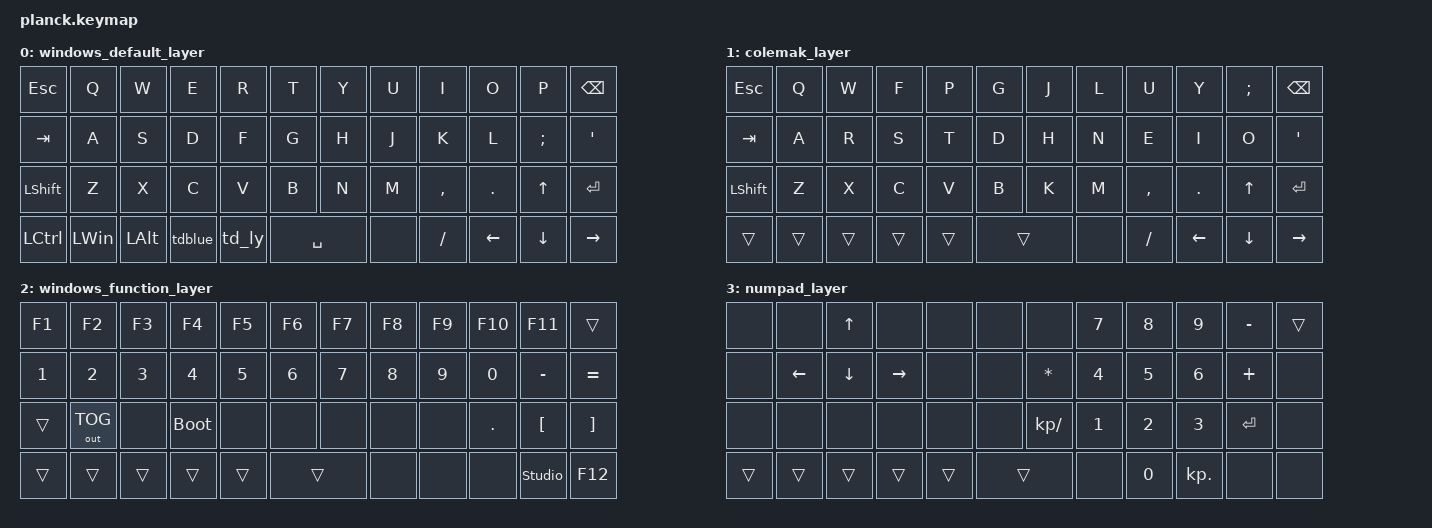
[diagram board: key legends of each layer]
#include <behaviors.dtsi>
#include <dt-bindings/zmk/keys.h>
#include <dt-bindings/zmk/bt.h>
#include <dt-bindings/zmk/outputs.h>

#define WIN 0
#define COLEMAK 1
#define WIN_FUNC 2
#define NUMPAD 3




/ {  
    behaviors {

        /*
        td_cap: tap_dance_caps {
            compatible = "zmk,behavior-tap-dance";
            #binding-cells = <0>;
            tapping-term-ms = <200>;
            bindings = <&kp LSHIFT>, <&kp LSHIFT>, <&kp CAPS>;
        };

         td_tab: tap_dance_tab {
            compatible = "zmk,behavior-tap-dance";
            #binding-cells = <0>;
            tapping-term-ms = <100>;
            bindings = <&kp TAB>, <&kp TAB>, <&kp CAPS>;
        };
        */

        td_ly: tap_dance_layers {
            compatible = "zmk,behavior-tap-dance";
            #binding-cells = <0>;
            tapping-term-ms = <200>;
            bindings = <&mo WIN_FUNC>, <&tog WIN_FUNC>, <&tog NUMPAD>, <&tog COLEMAK>;
        };

        tdblue: tap_dance_blue {
            compatible = "zmk,behavior-tap-dance";
            #binding-cells = <0>;
            tapping-term-ms = <200>;
            bindings = <&to WIN>, <&kp CAPS>, <&out OUT_TOG>;
        };
        
    };



    keymap {
        compatible = "zmk,keymap";

        windows_default_layer {
            bindings = <
                &kp ESC     &kp Q      &kp W      &kp E     &kp R        &kp T     &kp Y         &kp U   &kp I       &kp O      &kp P       &kp BSPC   
                &kp TAB     &kp A      &kp S      &kp D     &kp F        &kp G     &kp H         &kp J   &kp K       &kp L      &kp SEMI    &kp APOS   
                &kp LSHIFT  &kp Z      &kp X      &kp C     &kp V        &kp B     &kp N         &kp M   &kp COMMA   &kp DOT    &kp UP      &kp ENTER   
                &kp LCTRL   &kp LWIN   &kp LALT   &tdblue   &td_ly            &kp SPACE          &none   &kp SLASH   &kp LEFT   &kp DOWN    &kp RIGHT   
            >;
        }; 


        colemak_layer {
            bindings = <
                &kp ESC     &kp Q      &kp W      &kp F     &kp P        &kp G     &kp J         &kp L   &kp U       &kp Y      &kp SEMI    &kp BSPC   
                &kp TAB     &kp A      &kp R      &kp S     &kp T        &kp D     &kp H         &kp N   &kp E       &kp I      &kp O       &kp APOS   
                &kp LSHIFT  &kp Z      &kp X      &kp C     &kp V        &kp B     &kp K         &kp M   &kp COMMA   &kp DOT    &kp UP      &kp ENTER   
                &trans      &trans     &trans     &trans    &trans                 &trans        &none   &kp SLASH   &kp LEFT   &kp DOWN    &kp RIGHT   
            >;
        }; 
        

         windows_function_layer {
            bindings = <
                &kp F1      &kp F2       &kp F3    &kp F4      &kp F5      &kp F6    &kp F7        &kp F8   &kp F9      &kp F10    &kp F11     &trans   
                &kp N1      &kp N2       &kp N3    &kp N4      &kp N5      &kp N6    &kp N7        &kp N8   &kp N9      &kp N0     &kp MINUS   &kp EQUAL
                &trans      &out OUT_TOG &none     &bootloader &none       &none     &none         &none    &none       &kp DOT    &kp LBKT    &kp RBKT
                &trans      &trans       &trans    &trans      &trans                &trans        &none    &none       &none  &studio_unlock  &kp F12  
            >;
        };


        numpad_layer {
            bindings = <
                &none      &none      &kp UP     &none     &none       &none     &none         &kp N7   &kp N8      &kp N9      &kp MINUS   &trans   
                &none      &kp LEFT   &kp DOWN   &kp RIGHT &none       &none     &kp STAR      &kp N4   &kp N5      &kp N6      &kp PLUS    &none  
                &none      &none      &none      &none     &none       &none     &kp KP_SLASH  &kp N1   &kp N2      &kp N3      &kp ENTER   &none  
                &trans     &trans     &trans     &trans    &trans                &trans        &none    &kp N0      &kp KP_DOT  &none       &none  
            >;
        };

    };
};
